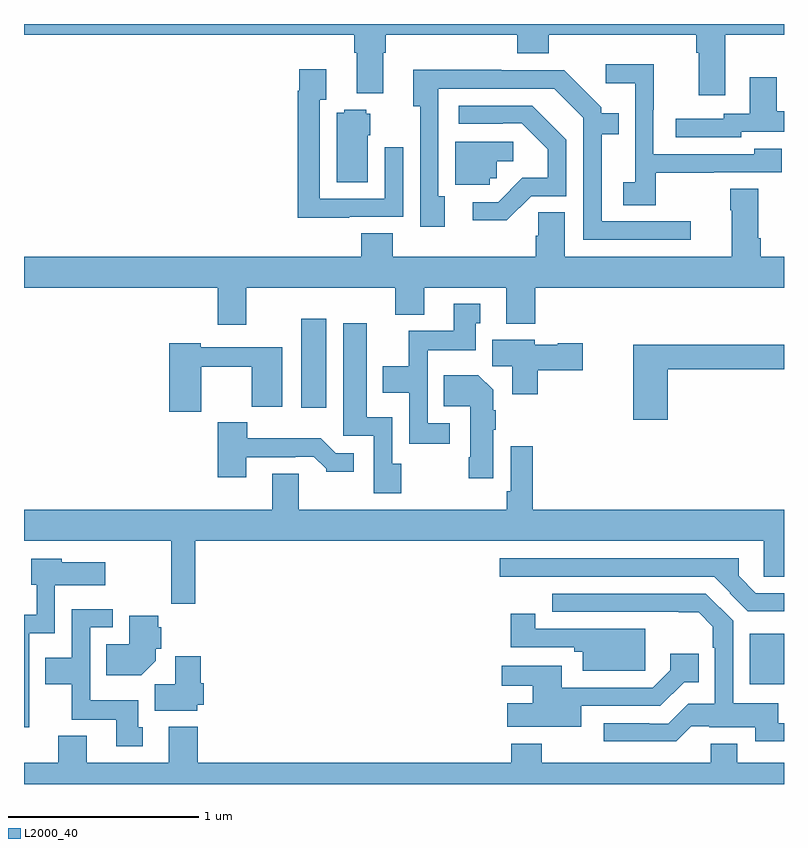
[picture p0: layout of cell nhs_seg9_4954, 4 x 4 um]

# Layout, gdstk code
import gdstk
lib = gdstk.Library(unit=1e-6, precision=1e-09)
def R(c, l, rs):  # rectangles x0, y0, x1, y1
    for r in rs: c.add(gdstk.rectangle(r[:2], r[2:], *l))
def P(c, l, *ps):  # polygons
    for p in ps: c.add(gdstk.Polygon(p, *l))
L2000_40 = (2000, 40)

nhs_seg9_4954 = lib.new_cell('nhs_seg9_4954')
R(nhs_seg9_4954, L2000_40, [(402.821,1169.024,403,1169.29), (400.46,1170.48,400.591,1170.949)])
P(nhs_seg9_4954, L2000_40, [(402.691,1172.444),(403,1172.444),(403,1172.5),(399,1172.5),(399,1172.444),(400.739,1172.444),(400.739,1172.348),(400.751,1172.348),(400.751,1172.135),(400.891,1172.135),(400.891,1172.348),(400.904,1172.348),(400.904,1172.444),(401.597,1172.444),(401.597,1172.345),(401.762,1172.345),(401.762,1172.444),(402.539,1172.444),(402.539,1172.348),(402.551,1172.348),(402.551,1172.124),(402.691,1172.124)],
  [(402.325,1171.717),(402.629,1171.717),(402.629,1171.719),(402.988,1171.719),(402.988,1171.843),(402.843,1171.843),(402.843,1171.815),(402.312,1171.815),(402.312,1172.048),(402.315,1172.048),(402.315,1172.287),(402.063,1172.287),(402.063,1172.189),(402.216,1172.189),(402.216,1171.668),(402.153,1171.668),(402.153,1171.546),(402.325,1171.546)],
  [(400.711,1171.485),(400.995,1171.485),(400.995,1171.852),(400.899,1171.852),(400.899,1171.581),(400.557,1171.581),(400.557,1172.102),(400.591,1172.102),(400.591,1172.263),(400.449,1172.263),(400.449,1172.15),(400.441,1172.15),(400.441,1171.481),(400.711,1171.481)],
  [(402.508,1171.461),(402.04,1171.461),(402.04,1171.92),(402.131,1171.92),(402.131,1172.029),(402.039,1172.029),(402.039,1172.061),(401.844,1172.256),(401.513,1172.256),(401.513,1172.258),(401.048,1172.258),(401.048,1172.066),(401.085,1172.066),(401.085,1171.434),(401.215,1171.434),(401.215,1171.594),(401.181,1171.594),(401.181,1172.16),(401.79,1172.16),(401.943,1172.007),(401.943,1171.365),(402.508,1171.365)],
  [(402.774,1171.932),(403,1171.932),(403,1172.041),(402.961,1172.041),(402.961,1172.221),(402.821,1172.221),(402.821,1172.028),(402.684,1172.028),(402.684,1172.001),(402.429,1172.001),(402.429,1171.905),(402.774,1171.905)],
  [(401.67,1171.593),(401.853,1171.593),(401.853,1171.891),(401.674,1172.07),(401.289,1172.07),(401.289,1171.974),(401.519,1171.974),(401.519,1171.977),(401.619,1171.977),(401.756,1171.84),(401.756,1171.69),(401.623,1171.69),(401.496,1171.563),(401.361,1171.563),(401.361,1171.466),(401.542,1171.466)],
  [(400.81,1171.914),(400.822,1171.914),(400.822,1172.028),(400.8,1172.028),(400.8,1172.05),(400.686,1172.05),(400.686,1172.032),(400.646,1172.032),(400.646,1171.666),(400.81,1171.666)],
  [(401.451,1171.689),(401.487,1171.689),(401.487,1171.778),(401.575,1171.778),(401.575,1171.881),(401.27,1171.881),(401.27,1171.653),(401.451,1171.653)],
  [(400.171,1171.112),(400.955,1171.112),(400.955,1170.971),(401.107,1170.971),(401.107,1171.112),(401.537,1171.112),(401.537,1170.923),(401.69,1170.923),(401.69,1171.112),(403,1171.112),(403,1171.276),(402.878,1171.276),(402.878,1171.372),(402.865,1171.372),(402.865,1171.633),(402.718,1171.633),(402.718,1171.52),(402.725,1171.52),(402.725,1171.276),(401.845,1171.276),(401.845,1171.508),(401.707,1171.508),(401.707,1171.386),(401.693,1171.386),(401.693,1171.276),(400.94,1171.276),(400.94,1171.4),(400.775,1171.4),(400.775,1171.276),(399,1171.276),(399,1171.112),(400.019,1171.112),(400.019,1170.918),(400.171,1170.918)],
  [(401.242,1170.399),(401.124,1170.399),(401.124,1170.782),(401.377,1170.782),(401.377,1170.924),(401.401,1170.924),(401.401,1171.027),(401.261,1171.027),(401.261,1170.886),(401.026,1170.886),(401.026,1170.7),(400.889,1170.7),(400.889,1170.56),(401.028,1170.56),(401.028,1170.291),(401.242,1170.291)],
  [(400.986,1170.186),(400.938,1170.186),(400.938,1170.43),(400.804,1170.43),(400.804,1170.925),(400.679,1170.925),(400.679,1170.333),(400.842,1170.333),(400.842,1170.03),(400.986,1170.03)],
  [(401.705,1170.677),(401.941,1170.677),(401.941,1170.819),(401.808,1170.819),(401.808,1170.811),(401.688,1170.811),(401.688,1170.838),(401.465,1170.838),(401.465,1170.7),(401.57,1170.7),(401.57,1170.552),(401.705,1170.552)],
  [(399.934,1170.697),(400.198,1170.697),(400.198,1170.485),(400.36,1170.485),(400.36,1170.798),(399.93,1170.798),(399.93,1170.819),(399.764,1170.819),(399.764,1170.459),(399.934,1170.459)],
  [(402.389,1170.682),(403,1170.682),(403,1170.811),(402.206,1170.811),(402.206,1170.417),(402.389,1170.417)],
  [(401.47,1170.364),(401.483,1170.364),(401.483,1170.467),(401.47,1170.467),(401.47,1170.574),(401.392,1170.652),(401.209,1170.652),(401.209,1170.488),(401.348,1170.488),(401.348,1170.22),(401.341,1170.22),(401.341,1170.108),(401.47,1170.108)],
  [(400.171,1170.219),(400.427,1170.219),(400.427,1170.222),(400.526,1170.222),(400.59,1170.158),(400.59,1170.143),(400.735,1170.143),(400.735,1170.24),(400.641,1170.24),(400.563,1170.319),(400.174,1170.319),(400.174,1170.403),(400.019,1170.403),(400.019,1170.114),(400.171,1170.114)],
  [(399.902,1169.78),(402.894,1169.78),(402.894,1169.59),(403,1169.59),(403,1169.944),(401.678,1169.944),(401.678,1170.277),(401.562,1170.277),(401.562,1170.04),(401.542,1170.04),(401.542,1169.944),(400.447,1169.944),(400.447,1170.134),(400.307,1170.134),(400.307,1169.944),(399,1169.944),(399,1169.78),(399.774,1169.78),(399.774,1169.448),(399.902,1169.448)],
  [(403,1169.505),(402.852,1169.505),(402.762,1169.596),(402.762,1169.688),(401.505,1169.688),(401.505,1169.592),(402.633,1169.592),(402.718,1169.507),(402.715,1169.504),(402.81,1169.409),(403,1169.409)],
  [(399.028,1169.294),(399.162,1169.294),(399.162,1169.546),(399.427,1169.546),(399.427,1169.668),(399.198,1169.668),(399.198,1169.686),(399.038,1169.686),(399.038,1169.55),(399.066,1169.55),(399.066,1169.391),(399,1169.391),(399,1168.8),(399.028,1168.8)],
  [(402.513,1168.803),(402.607,1168.803),(402.607,1168.799),(402.848,1168.799),(402.848,1168.725),(403,1168.725),(403,1168.821),(402.97,1168.821),(402.97,1168.924),(402.732,1168.924),(402.732,1169.359),(402.589,1169.502),(401.781,1169.502),(401.781,1169.406),(402.446,1169.406),(402.446,1169.404),(402.55,1169.404),(402.626,1169.328),(402.626,1169.216),(402.636,1169.216),(402.636,1168.923),(402.495,1168.923),(402.39,1168.818),(402.29,1168.818),(402.29,1168.821),(402.051,1168.821),(402.051,1168.724),(402.434,1168.724)],
  [(399.625,1168.8),(399.601,1168.8),(399.601,1168.942),(399.348,1168.942),(399.348,1169.325),(399.466,1169.325),(399.466,1169.421),(399.252,1169.421),(399.252,1169.164),(399.113,1169.164),(399.113,1169.024),(399.25,1169.024),(399.25,1168.838),(399.485,1168.838),(399.485,1168.698),(399.625,1168.698)],
  [(402.271,1169.317),(401.995,1169.317),(401.995,1169.316),(401.692,1169.316),(401.692,1169.395),(401.562,1169.395),(401.562,1169.22),(401.895,1169.22),(401.895,1169.195),(401.942,1169.195),(401.942,1169.096),(402.271,1169.096)],
  [(399.694,1169.15),(399.694,1169.211),(399.723,1169.211),(399.723,1169.325),(399.707,1169.325),(399.707,1169.386),(399.554,1169.386),(399.554,1169.236),(399.433,1169.236),(399.433,1169.072),(399.616,1169.072)],
  [(401.932,1168.911),(402.349,1168.911),(402.474,1169.036),(402.551,1169.036),(402.551,1169.185),(402.401,1169.185),(402.401,1169.099),(402.309,1169.007),(401.83,1169.007),(401.83,1169.122),(401.514,1169.122),(401.514,1169.018),(401.678,1169.018),(401.678,1168.924),(401.544,1168.924),(401.544,1168.802),(401.932,1168.802)],
  [(399.912,1168.917),(399.947,1168.917),(399.947,1169.031),(399.929,1169.031),(399.929,1169.173),(399.795,1169.173),(399.795,1169.024),(399.689,1169.024),(399.689,1168.886),(399.912,1168.886)],
  [(403,1168.612),(402.754,1168.612),(402.754,1168.711),(402.614,1168.711),(402.614,1168.612),(401.724,1168.612),(401.724,1168.711),(401.564,1168.711),(401.564,1168.612),(399.914,1168.612),(399.914,1168.801),(399.761,1168.801),(399.761,1168.612),(399.331,1168.612),(399.331,1168.753),(399.179,1168.753),(399.179,1168.612),(399,1168.612),(399,1168.5),(403,1168.5)])

lib.write_gds('nhs_seg9_4954.gds')
